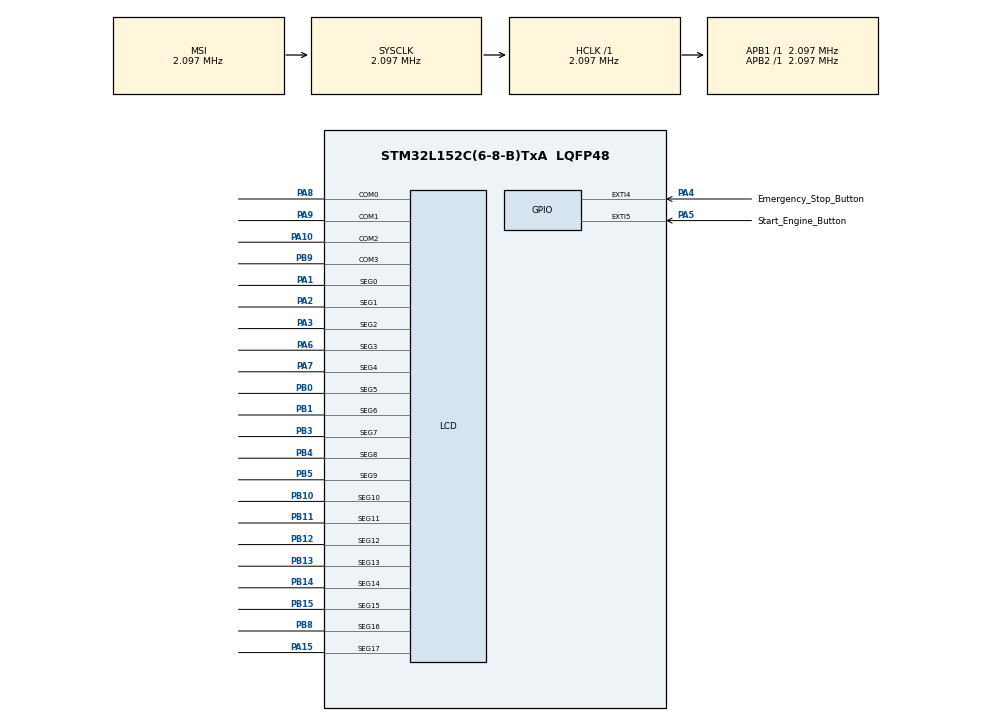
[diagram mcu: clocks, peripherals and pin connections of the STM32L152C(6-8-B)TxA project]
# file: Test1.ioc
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Mcu.Family=STM32L1
Mcu.Name=STM32L152C(6-8-B)TxA
Mcu.Package=LQFP48
NVIC.EXTI4_IRQn=true\:0\:0\:false\:false\:true\:true\:true\:true
NVIC.EXTI9_5_IRQn=true\:0\:0\:false\:false\:true\:true\:true\:true
NVIC.PriorityGroup=NVIC_PRIORITYGROUP_4
NVIC.TIM4_IRQn=true\:0\:0\:false\:false\:true\:true\:true\:true
PA1.Mode=SEG0
PA1.Signal=LCD_SEG0
PA10.Mode=1/4 Duty Cycle
PA10.Signal=LCD_COM2
PA15.Mode=SEG17
PA15.Signal=LCD_SEG17
PA2.Mode=SEG1
PA2.Signal=LCD_SEG1
PA3.Mode=SEG2
PA3.Signal=LCD_SEG2
PA4.GPIO_Label=Emergency_Stop_Button
PA4.GPIO_ModeDefaultEXTI=GPIO_MODE_IT_RISING
PA4.GPIO_PuPd=GPIO_PULLUP
PA4.Signal=GPXTI4
PA5.GPIO_Label=Start_Engine_Button
PA5.GPIO_PuPd=GPIO_PULLUP
PA5.Signal=GPXTI5
PA6.Mode=SEG3
PA6.Signal=LCD_SEG3
PA7.Mode=SEG4
PA7.Signal=LCD_SEG4
PA8.Mode=1/4 Duty Cycle
PA8.Signal=LCD_COM0
PA9.Mode=1/4 Duty Cycle
PA9.Signal=LCD_COM1
PB0.Mode=SEG5
PB0.Signal=LCD_SEG5
PB1.Mode=SEG6
PB1.Signal=LCD_SEG6
PB10.Mode=SEG10
PB10.Signal=LCD_SEG10
PB11.Mode=SEG11
PB11.Signal=LCD_SEG11
PB12.Mode=SEG12
PB12.Signal=LCD_SEG12
PB13.Mode=SEG13
PB13.Signal=LCD_SEG13
PB14.Mode=SEG14
PB14.Signal=LCD_SEG14
PB15.Mode=SEG15
PB15.Signal=LCD_SEG15
PB3.Mode=SEG7
PB3.Signal=LCD_SEG7
PB4.Mode=SEG8
PB4.Signal=LCD_SEG8
PB5.Mode=SEG9
PB5.Signal=LCD_SEG9
PB6.GPIO_Label=M1
PB6.Signal=S_TIM4_CH1
PB7.GPIO_Label=M2
PB7.Signal=S_TIM4_CH2
PB8.Mode=SEG16
PB8.Signal=LCD_SEG16
PB9.Mode=1/4 Duty Cycle
PB9.Signal=LCD_COM3
ProjectManager.HeapSize=0x200
ProjectManager.StackSize=0x400
ProjectManager.TargetToolchain=STM32CubeIDE
RCC.AHBFreq_Value=2097000
RCC.APB1Freq_Value=2097000
RCC.APB2Freq_Value=2097000
RCC.HSE_VALUE=24000000
RCC.HSI_VALUE=16000000
RCC.LSE_VALUE=32768
RCC.MSI_VALUE=2097000
RCC.SYSCLKFreq_VALUE=2097000
RCC.VCOOutputFreq_Value=48000000
SH.S_TIM4_CH1.0=TIM4_CH1
SH.S_TIM4_CH2.0=TIM4_CH2
TIM4.Channel-PWM\ Generation1\ No\ Output=TIM_CHANNEL_1
TIM4.Channel-PWM\ Generation2\ No\ Output=TIM_CHANNEL_2
TIM4.Prescaler=32-1
VP_TIM4_VS_no_output1.Mode=PWM Generation1 No Output
VP_TIM4_VS_no_output2.Mode=PWM Generation2 No Output
board=custom

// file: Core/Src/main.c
/* USER CODE BEGIN Header */
/**
  ******************************************************************************
  * @file           : main.c
  * @brief          : Main program body
  ******************************************************************************
  * @attention
  *
  * Copyright (c) 2025 STMicroelectronics.
  * All rights reserved.
  *
  * This software is licensed under terms that can be found in the LICENSE file
  * in the root directory of this software component.
  * If no LICENSE file comes with this software, it is provided AS-IS.
  *
  ******************************************************************************
  */
/* USER CODE END Header */
#include "main.h"

/* USER CODE BEGIN Includes */
#include "setup_peripherals.h"
/* USER CODE END Includes */

LCD_HandleTypeDef hlcd;

TIM_HandleTypeDef htim4;

/* USER CODE BEGIN PV */
DEVICES* devices;
/* USER CODE END PV */

void SystemClock_Config(void);
static void MX_GPIO_Init(void);
static void MX_LCD_Init(void);
static void MX_TIM4_Init(void);

int main(void)
{

  /* MCU Configuration--------------------------------------------------------*/

  /* Reset of all peripherals, Initializes the Flash interface and the Systick. */
  HAL_Init();

  /* Configure the system clock */
  SystemClock_Config();

  /* Initialize all configured peripherals */
  MX_GPIO_Init();
  MX_LCD_Init();
  MX_TIM4_Init();
  /* USER CODE BEGIN 2 */
  devices = setup_emergency_stop_button();
  setup_start_button();
  setup_engine1(&htim4, TIM_CHANNEL_1);
  (void) setup_engine2(&htim4, TIM_CHANNEL_2);

  engine_set_speed(&devices->engine1, 50);
  // TODO: replace periods with seconds, hint: do calculation based on chip speed
  engine_run_timed(&devices->engine1, 5000);
  // TODO: Write Hello on first line and World on second one
  HAL_LCD_Write(&hlcd, LCD_RAM_REGISTER0, 0xFFFFFFFF, 0x000025); // H
  HAL_LCD_UpdateDisplayRequest(&hlcd);
  /* USER CODE END 2 */

  /* Infinite loop */
  /* USER CODE BEGIN WHILE */
  // ReSharper disable once CppDFAEndlessLoop
  while (1)
  {
    /* USER CODE END WHILE */

  }
}

void SystemClock_Config(void)
{
  RCC_OscInitTypeDef RCC_OscInitStruct = {0};
  RCC_ClkInitTypeDef RCC_ClkInitStruct = {0};
  RCC_PeriphCLKInitTypeDef PeriphClkInit = {0};

  /** Configure the main internal regulator output voltage
  */
  __HAL_PWR_VOLTAGESCALING_CONFIG(PWR_REGULATOR_VOLTAGE_SCALE1);

  /** Initializes the RCC Oscillators according to the specified parameters
  * in the RCC_OscInitTypeDef structure.
  */
  RCC_OscInitStruct.OscillatorType = RCC_OSCILLATORTYPE_LSI|RCC_OSCILLATORTYPE_MSI;
  RCC_OscInitStruct.LSIState = RCC_LSI_ON;
  RCC_OscInitStruct.MSIState = RCC_MSI_ON;
  RCC_OscInitStruct.MSICalibrationValue = 0;
  RCC_OscInitStruct.MSIClockRange = RCC_MSIRANGE_5;
  RCC_OscInitStruct.PLL.PLLState = RCC_PLL_NONE;
  if (HAL_RCC_OscConfig(&RCC_OscInitStruct) != HAL_OK)
  {
    Error_Handler();
  }

  /** Initializes the CPU, AHB and APB buses clocks
  */
  RCC_ClkInitStruct.ClockType = RCC_CLOCKTYPE_HCLK|RCC_CLOCKTYPE_SYSCLK
                              |RCC_CLOCKTYPE_PCLK1|RCC_CLOCKTYPE_PCLK2;
  RCC_ClkInitStruct.SYSCLKSource = RCC_SYSCLKSOURCE_MSI;
  RCC_ClkInitStruct.AHBCLKDivider = RCC_SYSCLK_DIV1;
  RCC_ClkInitStruct.APB1CLKDivider = RCC_HCLK_DIV1;
  RCC_ClkInitStruct.APB2CLKDivider = RCC_HCLK_DIV1;

  if (HAL_RCC_ClockConfig(&RCC_ClkInitStruct, FLASH_LATENCY_0) != HAL_OK)
  {
    Error_Handler();
  }
  PeriphClkInit.PeriphClockSelection = RCC_PERIPHCLK_RTC|RCC_PERIPHCLK_LCD;
  PeriphClkInit.RTCClockSelection = RCC_RTCCLKSOURCE_LSI;
  PeriphClkInit.LCDClockSelection = RCC_RTCCLKSOURCE_LSI;

  if (HAL_RCCEx_PeriphCLKConfig(&PeriphClkInit) != HAL_OK)
  {
    Error_Handler();
  }
}

static void MX_LCD_Init(void)
{

  hlcd.Instance = LCD;
  hlcd.Init.Prescaler = LCD_PRESCALER_1;
  hlcd.Init.Divider = LCD_DIVIDER_16;
  hlcd.Init.Duty = LCD_DUTY_1_4;
  hlcd.Init.Bias = LCD_BIAS_1_4;
  hlcd.Init.VoltageSource = LCD_VOLTAGESOURCE_INTERNAL;
  hlcd.Init.Contrast = LCD_CONTRASTLEVEL_0;
  hlcd.Init.DeadTime = LCD_DEADTIME_0;
  hlcd.Init.PulseOnDuration = LCD_PULSEONDURATION_0;
  hlcd.Init.MuxSegment = LCD_MUXSEGMENT_DISABLE;
  hlcd.Init.BlinkMode = LCD_BLINKMODE_OFF;
  hlcd.Init.BlinkFrequency = LCD_BLINKFREQUENCY_DIV8;
  if (HAL_LCD_Init(&hlcd) != HAL_OK)
  {
    Error_Handler();
  }

}

static void MX_TIM4_Init(void)
{

  TIM_MasterConfigTypeDef sMasterConfig = {0};
  TIM_OC_InitTypeDef sConfigOC = {0};

  htim4.Instance = TIM4;
  htim4.Init.Prescaler = 32-1;
  htim4.Init.CounterMode = TIM_COUNTERMODE_UP;
  htim4.Init.Period = 65535;
  htim4.Init.ClockDivision = TIM_CLOCKDIVISION_DIV1;
  htim4.Init.AutoReloadPreload = TIM_AUTORELOAD_PRELOAD_DISABLE;
  if (HAL_TIM_PWM_Init(&htim4) != HAL_OK)
  {
    Error_Handler();
  }
  sMasterConfig.MasterOutputTrigger = TIM_TRGO_RESET;
  sMasterConfig.MasterSlaveMode = TIM_MASTERSLAVEMODE_DISABLE;
  if (HAL_TIMEx_MasterConfigSynchronization(&htim4, &sMasterConfig) != HAL_OK)
  {
    Error_Handler();
  }
  sConfigOC.OCMode = TIM_OCMODE_PWM1;
  sConfigOC.Pulse = 0;
  sConfigOC.OCPolarity = TIM_OCPOLARITY_HIGH;
  sConfigOC.OCFastMode = TIM_OCFAST_DISABLE;
  if (HAL_TIM_PWM_ConfigChannel(&htim4, &sConfigOC, TIM_CHANNEL_1) != HAL_OK)
  {
    Error_Handler();
  }
  if (HAL_TIM_PWM_ConfigChannel(&htim4, &sConfigOC, TIM_CHANNEL_2) != HAL_OK)
  {
    Error_Handler();
  }

}

static void MX_GPIO_Init(void)
{
  GPIO_InitTypeDef GPIO_InitStruct = {0};

  /* GPIO Ports Clock Enable */
  __HAL_RCC_GPIOA_CLK_ENABLE();
  __HAL_RCC_GPIOB_CLK_ENABLE();

  /*Configure GPIO pins : Emergency_Stop_Button_Pin Start_Engine_Button_Pin */
  GPIO_InitStruct.Pin = Emergency_Stop_Button_Pin|Start_Engine_Button_Pin;
  GPIO_InitStruct.Mode = GPIO_MODE_IT_RISING;
  GPIO_InitStruct.Pull = GPIO_PULLUP;
  HAL_GPIO_Init(GPIOA, &GPIO_InitStruct);

  /* EXTI interrupt init*/
  HAL_NVIC_SetPriority(EXTI4_IRQn, 0, 0);
  HAL_NVIC_EnableIRQ(EXTI4_IRQn);

  HAL_NVIC_SetPriority(EXTI9_5_IRQn, 0, 0);
  HAL_NVIC_EnableIRQ(EXTI9_5_IRQn);

}

/* USER CODE BEGIN 4 */
void HAL_GPIO_EXTI_Callback(uint16_t GPIO_Pin) {
  if (GPIO_Pin == Emergency_Stop_Button_Pin) {
    engine_emergency_stop(&devices->engine1);
    engine_emergency_stop(&devices->engine2);
  } else if (GPIO_Pin == Start_Engine_Button_Pin) {
    engine_set_speed(&devices->engine1, (MAX_DRIVE_SPEED - MIN_DRIVE_SPEED) / 2);
    engine_run_timed(&devices->engine1, 5000);
  }
}

void HAL_TIM_PeriodElapsedCallback(TIM_HandleTypeDef* htim)
{
  if (devices->engine1.timer == htim) {
    if (--devices->engine1.periodsToRun == 0) {
      engine_stop(&devices->engine1);
    }
  }
  if (devices->engine2.timer == htim) {
    if (--devices->engine2.periodsToRun == 0) {
      engine_stop(&devices->engine2);
    }
  }
}
/* USER CODE END 4 */

void Error_Handler(void)
{
  __disable_irq();
  while (1)
  {
  }
}
